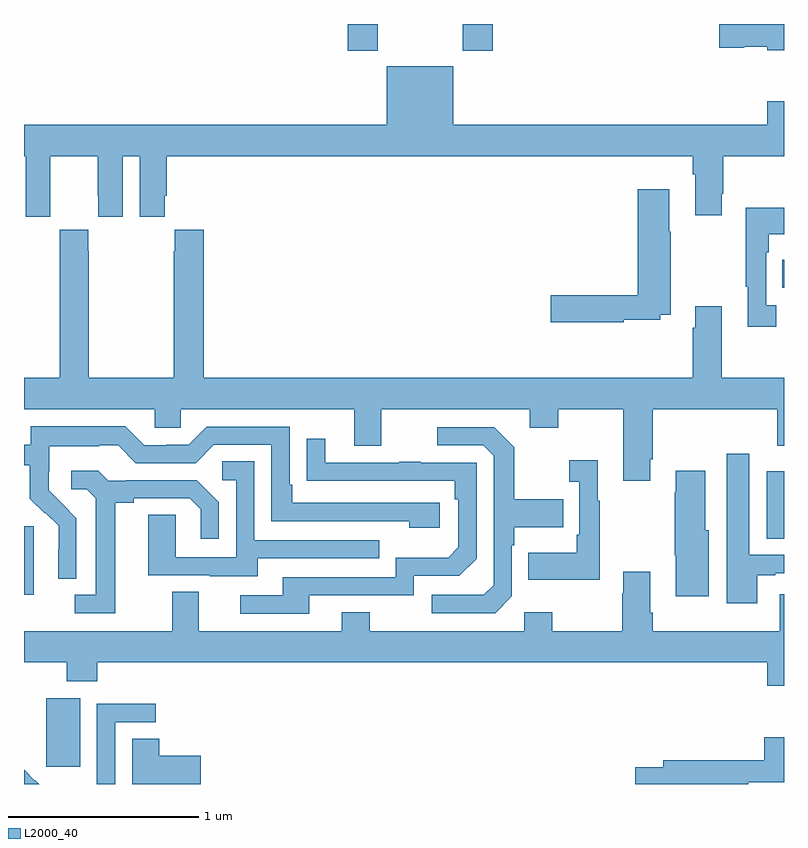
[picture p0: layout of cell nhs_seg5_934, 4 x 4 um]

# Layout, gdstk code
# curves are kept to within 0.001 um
import gdstk
lib = gdstk.Library(unit=1e-6, precision=1e-09)
def R(c, l, rs):  # rectangles x0, y0, x1, y1
    for r in rs: c.add(gdstk.rectangle(r[:2], r[2:], *l))
def P(c, l, *ps):  # polygons
    for p in ps: c.add(gdstk.Polygon(p, *l))
L2000_40 = (2000, 40)

nhs_seg5_934 = lib.new_cell('nhs_seg5_934')
R(nhs_seg5_934, L2000_40, [(171.116,842.889,171.295,843.25), (171,843.794,171.052,844.155), (174.908,844.09,175,844.444), (174.991,845.41,175,845.557), (172.703,846.657,172.863,846.799), (173.308,846.657,173.468,846.799)])
P(nhs_seg5_934, L2000_40, [(175,846.799),(174.66,846.799),(174.66,846.673),(174.792,846.673),(174.792,846.68),(174.912,846.68),(174.912,846.662),(175,846.662)],
  [(171.138,845.896),(171.139,845.896),(171.139,846.104),(171.389,846.104),(171.389,845.896),(171.39,845.896),(171.39,845.784),(171.52,845.784),(171.52,846.104),(171.608,846.104),(171.608,845.784),(171.742,845.784),(171.742,845.896),(171.752,845.896),(171.752,846.104),(174.521,846.104),(174.521,846.008),(174.533,846.008),(174.533,845.793),(174.673,845.793),(174.673,845.905),(174.681,845.905),(174.681,846.104),(175,846.104),(175,846.392),(174.911,846.392),(174.911,846.268),(173.26,846.268),(173.26,846.577),(172.91,846.577),(172.91,846.268),(171,846.268),(171,846.104),(171.008,846.104),(171.008,845.784),(171.138,845.784)],
  [(174.156,845.242),(174.348,845.242),(174.348,845.27),(174.405,845.27),(174.405,845.705),(174.397,845.705),(174.397,845.929),(174.23,845.929),(174.23,845.372),(173.772,845.372),(173.772,845.23),(174.156,845.23)],
  [(174.958,845.318),(174.906,845.318),(174.906,845.597),(174.919,845.597),(174.919,845.693),(175,845.693),(175,845.833),(174.798,845.833),(174.798,845.417),(174.809,845.417),(174.809,845.205),(174.958,845.205)],
  [(174.295,844.507),(174.308,844.507),(174.308,844.772),(174.965,844.772),(174.965,844.578),(175,844.578),(175,844.936),(174.673,844.936),(174.673,845.314),(174.533,845.314),(174.533,845.201),(174.521,845.201),(174.521,844.936),(171.947,844.936),(171.947,845.716),(171.793,845.716),(171.793,845.603),(171.787,845.603),(171.787,844.936),(171.342,844.936),(171.342,845.603),(171.339,845.603),(171.339,845.716),(171.189,845.716),(171.189,845.603),(171.187,845.603),(171.187,844.936),(171,844.936),(171,844.772),(171.687,844.772),(171.687,844.674),(171.825,844.674),(171.825,844.772),(172.739,844.772),(172.739,844.578),(172.879,844.578),(172.879,844.772),(173.663,844.772),(173.663,844.673),(173.811,844.673),(173.811,844.772),(174.155,844.772),(174.155,844.395),(174.295,844.395)],
  [(171.276,844.198),(171.13,844.346),(171.13,844.443),(171.132,844.443),(171.132,844.577),(171.395,844.577),(171.395,844.581),(171.495,844.581),(171.588,844.488),(171.903,844.488),(171.999,844.584),(172.302,844.584),(172.302,844.182),(173.027,844.182),(173.027,844.148),(173.188,844.148),(173.188,844.278),(172.411,844.278),(172.411,844.375),(172.398,844.375),(172.398,844.68),(171.963,844.68),(171.867,844.584),(171.749,844.584),(171.749,844.581),(171.633,844.581),(171.533,844.681),(171.036,844.681),(171.036,844.584),(171,844.584),(171,844.476),(171.031,844.476),(171.031,844.301),(171.108,844.224),(171.111,844.227),(171.182,844.157),(171.182,844.034),(171.18,844.034),(171.18,843.88),(171.276,843.88)],
  [(173.568,843.786),(173.568,844.055),(173.581,844.055),(173.581,844.151),(173.837,844.151),(173.837,844.299),(173.581,844.299),(173.581,844.571),(173.475,844.677),(173.175,844.677),(173.175,844.581),(173.418,844.581),(173.472,844.527),(173.472,843.846),(173.421,843.795),(173.145,843.795),(173.145,843.699),(173.481,843.699)],
  [(172.501,843.792),(173.052,843.792),(173.052,843.894),(173.292,843.894),(173.382,843.984),(173.382,844.491),(173.087,844.491),(173.087,844.496),(172.975,844.496),(172.975,844.491),(172.585,844.491),(172.585,844.615),(172.489,844.615),(172.489,844.396),(173.266,844.395),(173.266,844.298),(173.286,844.298),(173.286,844.044),(173.233,843.991),(172.956,843.991),(172.956,843.888),(172.361,843.888),(172.361,843.792),(172.137,843.792),(172.137,843.696),(172.501,843.696)],
  [(174.859,843.897),(174.955,843.897),(174.955,843.909),(175,843.909),(175,844.005),(174.817,844.005),(174.817,844.537),(174.698,844.537),(174.698,843.75),(174.859,843.75)],
  [(174.031,844.291),(174.019,844.291),(174.019,844.504),(173.871,844.504),(173.871,844.391),(173.922,844.391),(173.922,844.111),(173.91,844.111),(173.91,844.015),(173.653,844.015),(173.653,843.875),(174.031,843.875)],
  [(172.231,843.987),(172.871,843.987),(172.871,844.083),(172.212,844.083),(172.212,844.499),(172.044,844.499),(172.044,844.398),(172.116,844.398),(172.116,843.993),(171.798,843.993),(171.798,844.217),(171.653,844.217),(171.653,843.897),(171.977,843.897),(171.977,843.893),(172.231,843.893)],
  [(171.481,844.28),(171.577,844.28),(171.577,844.302),(171.872,844.302),(171.929,844.245),(171.929,844.089),(172.026,844.089),(172.026,844.282),(171.91,844.398),(171.538,844.398),(171.538,844.395),(171.444,844.395),(171.392,844.447),(171.249,844.447),(171.249,844.35),(171.33,844.35),(171.377,844.303),(171.377,843.795),(171.267,843.795),(171.267,843.699),(171.481,843.699)],
  [(174.604,844.134),(174.586,844.134),(174.586,844.447),(174.431,844.447),(174.431,844.334),(174.424,844.334),(174.424,844.003),(174.431,844.003),(174.431,843.788),(174.604,843.788)],
  [(175,843.799),(174.977,843.799),(174.977,843.604),(174.308,843.604),(174.308,843.7),(174.295,843.7),(174.295,843.916),(174.155,843.916),(174.155,843.803),(174.148,843.803),(174.148,843.604),(173.781,843.604),(173.781,843.703),(173.634,843.703),(173.634,843.604),(172.821,843.604),(172.821,843.703),(172.673,843.703),(172.673,843.604),(171.919,843.604),(171.919,843.812),(171.779,843.812),(171.779,843.604),(171,843.604),(171,843.44),(171.226,843.44),(171.226,843.341),(171.386,843.341),(171.386,843.44),(174.911,843.44),(174.911,843.316),(175,843.316)],
  [(171.48,843.123),(171.694,843.123),(171.694,843.222),(171.384,843.222),(171.384,842.799),(171.48,842.799)],
  [(174.812,842.808),(175,842.808),(175,843.046),(174.896,843.046),(174.896,842.924),(174.365,842.924),(174.365,842.888),(174.216,842.888),(174.216,842.799),(174.812,842.799)],
  [(171.931,842.948),(171.713,842.948),(171.713,843.038),(171.569,843.038),(171.569,842.799),(171.931,842.799)],
  [(171.06,842.82),(171.057,842.817),(171,842.875),(171,842.799),(171.081,842.799)])

lib.write_gds('nhs_seg5_934.gds')
